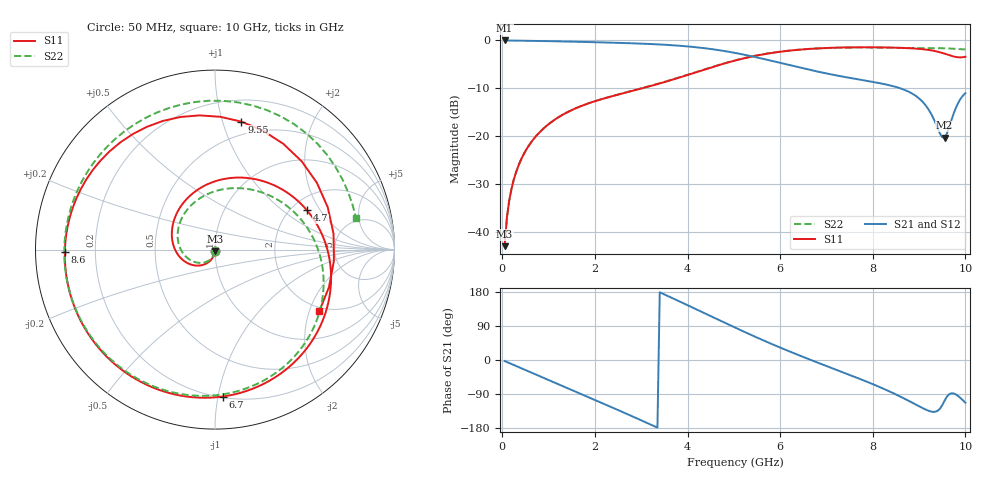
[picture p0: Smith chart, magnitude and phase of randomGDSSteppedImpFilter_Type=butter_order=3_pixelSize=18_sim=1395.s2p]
! freq	dB(S11)	phase(S11)	dB(S12)	phase(S12)
!  dB(S21)	phase(S21)	dB(S22)	phase(S22)
!S-par simulation data
#  GHz  S  DB  R 50
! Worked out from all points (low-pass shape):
!   200 points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, 50 MHz to 10 GHz, reference 50 ohm
!   highest |S21| = 0.00 dB at 50 MHz (marker M1); lowest = -20.3 dB at 9.55 GHz (marker M2)
!   |S21| within 3 dB of the highest: start of sweep to 5.237 GHz
!   lowest |S11| = -42.9 dB at 50 MHz (marker M3), VSWR 1.01, Z = 50 - j0.711 ohm
!   |S11| at or under -10 dB: start of sweep to 3.02 GHz
!   |S22| runs from -43.0 to -1.5 dB; largest |S21 - S12| = 0
!   S11 on the Smith chart (normalised r, x): 50 MHz: 1.00, -0.01; 4.7 GHz: 2.41, +1.53; 6.7 GHz: 0.21, -1.03; 8.6 GHz: 0.09, -0.01; 9.55 GHz: 0.38, +1.15; 10 GHz: 1.85, -2.34
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0.05  -42.95 -91.9  -0.00 -2.7  -0.00 -2.7  -42.96 -92.4
0.1  -36.93 -94.6  -0.01 -5.4  -0.01 -5.4  -36.94 -95.7
0.2  -30.93 -99.6  -0.02 -10.7  -0.02 -10.7  -30.94 -101.8
0.5  -23.09 -114.2  -0.06 -26.5  -0.06 -26.5  -23.10 -119.7
1.15  -16.43 -145.1  -0.17 -60.7  -0.17 -60.7  -16.43 -157.9
1.75  -13.53 -173.4  -0.31 -92.2  -0.31 -92.2  -13.52 167.1
2.2  -12.10 165.0  -0.42 -116.0  -0.42 -116.0  -12.09 141.0
2.65  -10.93 142.5  -0.54 -140.1  -0.54 -140.1  -10.91 115.1
3.4  -8.98 102.0  -0.84 178.7  -0.84 178.7  -8.94 73.3
4.1  -6.90 60.2  -1.34 139.0  -1.34 139.0  -6.84 35.7
4.7  -5.08 23.1  -2.06 104.3  -2.06 104.3  -5.03 4.0
5.05  -4.14 1.8  -2.65 84.3  -2.65 84.3  -4.09 -14.4
5.75  -2.71 -38.7  -4.11 45.8  -4.11 45.8  -2.69 -50.4
6.7  -1.73 -87.0  -6.27 -1.7  -6.27 -1.7  -1.72 -96.8
7.5  -1.45 -123.7  -7.82 -39.3  -7.82 -39.3  -1.48 -136.1
8.35  -1.48 -164.8  -9.33 -82.3  -9.33 -82.3  -1.53 174.6
8.6  -1.55 -179.2  -10.01 -96.8  -10.01 -96.8  -1.58 156.7
9.15  -1.91 136.9  -13.66 -131.2  -13.66 -131.2  -1.62 108.1
9.4  -2.34 104.7  -18.29 -134.2  -18.29 -134.2  -1.62 81.1
9.55  -2.76 78.3  -20.28 -107.5  -20.28 -107.5  -1.64 63.7
9.8  -3.47 20.6  -13.95 -91.4  -13.95 -91.4  -1.79 34.4
10  -3.41 -30.7  -11.02 -112.6  -11.02 -112.6  -1.88 12.5
